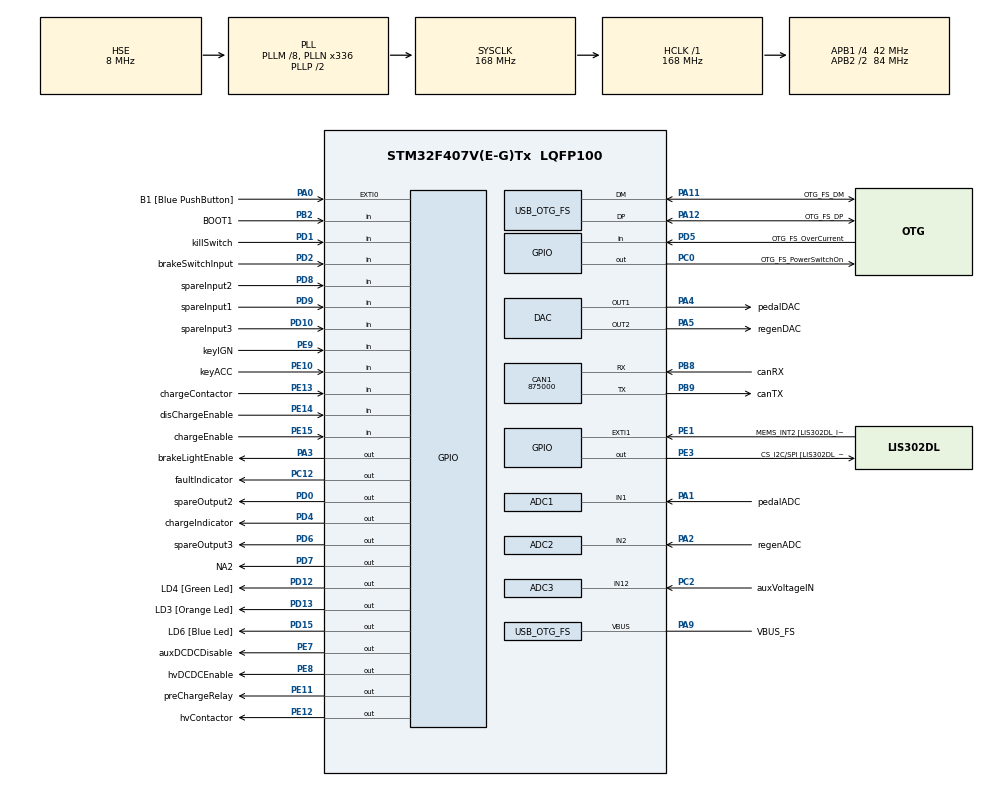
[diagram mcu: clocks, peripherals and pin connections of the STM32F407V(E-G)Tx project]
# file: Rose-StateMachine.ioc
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ADC1.Channel-1\#ChannelRegularConversion=ADC_CHANNEL_1
ADC1.ContinuousConvMode=ENABLE
ADC1.InjNumberOfConversion=0
ADC1.NbrOfConversion=1
ADC1.NbrOfConversionFlag=1
ADC1.Rank-1\#ChannelRegularConversion=1
ADC1.Resolution=ADC_RESOLUTION_12B
ADC1.SamplingTime-1\#ChannelRegularConversion=ADC_SAMPLETIME_15CYCLES
ADC1.ScanConvMode=DISABLE
ADC1.master=1
ADC2.Channel-1\#ChannelRegularConversion=ADC_CHANNEL_2
ADC2.ContinuousConvMode=ENABLE
ADC2.NbrOfConversionFlag=1
ADC2.Rank-1\#ChannelRegularConversion=1
ADC2.SamplingTime-1\#ChannelRegularConversion=ADC_SAMPLETIME_3CYCLES
ADC3.Channel-0\#ChannelRegularConversion=ADC_CHANNEL_12
ADC3.ContinuousConvMode=ENABLE
ADC3.NbrOfConversionFlag=1
ADC3.Rank-0\#ChannelRegularConversion=1
ADC3.SamplingTime-0\#ChannelRegularConversion=ADC_SAMPLETIME_3CYCLES
CAN1.CalculateBaudRate=875000
CAN1.CalculateTimeBit=1142
CAN1.CalculateTimeQuantum=380.95238095238096
Mcu.Family=STM32F4
Mcu.Name=STM32F407V(E-G)Tx
Mcu.Package=LQFP100
NVIC.OTG_FS_IRQn=true\:0\:0\:false\:false\:true\:true\:true\:true
NVIC.PriorityGroup=NVIC_PRIORITYGROUP_0
PA0-WKUP.GPIO_Label=B1 [Blue PushButton]
PA0-WKUP.GPIO_ModeDefaultEXTI=GPIO_MODE_EVT_RISING
PA0-WKUP.GPIO_PuPd=GPIO_NOPULL
PA0-WKUP.Signal=GPXTI0
PA1.GPIO_Label=pedalADC
PA1.Signal=ADCx_IN1
PA10.GPIO_Label=OTG_FS_ID
PA10.GPIO_Mode=GPIO_MODE_AF_PP
PA10.GPIO_PuPd=GPIO_NOPULL
PA10.GPIO_Speed=GPIO_SPEED_FREQ_LOW
PA10.Signal=USB_OTG_FS_ID
PA11.GPIO_Label=OTG_FS_DM
PA11.GPIO_Mode=GPIO_MODE_AF_PP
PA11.GPIO_PuPd=GPIO_NOPULL
PA11.GPIO_Speed=GPIO_SPEED_FREQ_LOW
PA11.Mode=Device_Only
PA11.Signal=USB_OTG_FS_DM
PA12.GPIO_Label=OTG_FS_DP
PA12.GPIO_Mode=GPIO_MODE_AF_PP
PA12.GPIO_PuPd=GPIO_NOPULL
PA12.GPIO_Speed=GPIO_SPEED_FREQ_LOW
PA12.Mode=Device_Only
PA12.Signal=USB_OTG_FS_DP
PA13.GPIO_Label=SWDIO
PA13.Mode=Serial_Wire
PA13.Signal=SYS_JTMS-SWDIO
PA14.GPIO_Label=SWCLK
PA14.Mode=Serial_Wire
PA14.Signal=SYS_JTCK-SWCLK
PA2.GPIO_Label=regenADC
PA2.Signal=ADCx_IN2
PA3.GPIO_Label=brakeLightEnable
PA3.Signal=GPIO_Output
PA4.GPIO_Label=pedalDAC
PA4.Signal=COMP_DAC1_group
PA5.GPIO_Label=regenDAC
PA5.Signal=COMP_DAC2_group
PA6.GPIO_Label=SPI1_MISO [LIS302DL_SDO]
PA6.GPIO_Mode=GPIO_MODE_AF_PP
PA6.GPIO_PuPd=GPIO_NOPULL
PA6.GPIO_Speed=GPIO_SPEED_FREQ_LOW
PA6.Signal=SPI1_MISO
PA9.GPIO_Label=VBUS_FS
PA9.GPIO_Mode=GPIO_MODE_INPUT
PA9.GPIO_PuPd=GPIO_NOPULL
PA9.Mode=Activate_VBUS
PA9.Signal=USB_OTG_FS_VBUS
PB10.GPIO_Label=CLK_IN [MP45DT02_CLK]
PB10.GPIO_Mode=GPIO_MODE_AF_PP
PB10.GPIO_PuPd=GPIO_NOPULL
PB10.GPIO_Speed=GPIO_SPEED_FREQ_LOW
PB10.Signal=I2S2_CK
PB2.GPIO_Label=BOOT1
PB2.GPIO_Mode=GPIO_MODE_INPUT
PB2.GPIO_PuPd=GPIO_NOPULL
PB2.Signal=GPIO_Input
PB3.GPIO_Label=SWO
PB3.Signal=SYS_JTDO-SWO
PB8.GPIO_Label=canRX
PB8.Mode=CAN_Activate
PB8.Signal=CAN1_RX
PB9.GPIO_Label=canTX
PB9.Mode=CAN_Activate
PB9.Signal=CAN1_TX
PC0.GPIO_Label=OTG_FS_PowerSwitchOn
PC0.GPIO_PuPd=GPIO_NOPULL
PC0.GPIO_Speed=GPIO_SPEED_FREQ_LOW
PC0.PinState=GPIO_PIN_SET
PC0.Signal=GPIO_Output
PC10.GPIO_Label=I2S3_SCK [CS43L22_SCLK]
PC10.GPIO_Mode=GPIO_MODE_AF_PP
PC10.GPIO_PuPd=GPIO_NOPULL
PC10.GPIO_Speed=GPIO_SPEED_FREQ_LOW
PC10.Signal=I2S3_CK
PC12.GPIO_Label=faultIndicator
PC12.Signal=GPIO_Output
PC14-OSC32_IN.GPIO_Label=PC14-OSC32_IN
PC14-OSC32_IN.Mode=LSE-External-Oscillator
PC14-OSC32_IN.Signal=RCC_OSC32_IN
PC15-OSC32_OUT.GPIO_Label=PC15-OSC32_OUT
PC15-OSC32_OUT.Mode=LSE-External-Oscillator
PC15-OSC32_OUT.Signal=RCC_OSC32_OUT
PC2.GPIO_Label=auxVoltageIN
PC2.Signal=ADCx_IN12
PC3.GPIO_Label=PDM_OUT [MP45DT02_DOUT]
PC3.GPIO_Mode=GPIO_MODE_AF_PP
PC3.GPIO_PuPd=GPIO_NOPULL
PC3.GPIO_Speed=GPIO_SPEED_FREQ_LOW
PC3.Signal=I2S2_SD
PD0.GPIO_Label=spareOutput2
PD0.Signal=GPIO_Output
PD1.GPIO_Label=killSwitch
PD1.Signal=GPIO_Input
PD10.GPIO_Label=spareInput3
PD10.Signal=GPIO_Input
PD12.GPIO_Label=LD4 [Green Led]
PD12.GPIO_PuPd=GPIO_NOPULL
PD12.GPIO_Speed=GPIO_SPEED_FREQ_LOW
PD12.Signal=GPIO_Output
PD13.GPIO_Label=LD3 [Orange Led]
PD13.GPIO_PuPd=GPIO_NOPULL
PD13.GPIO_Speed=GPIO_SPEED_FREQ_LOW
PD13.Signal=GPIO_Output
PD15.GPIO_Label=LD6 [Blue Led]
PD15.GPIO_PuPd=GPIO_NOPULL
PD15.GPIO_Speed=GPIO_SPEED_FREQ_LOW
PD15.Signal=GPIO_Output
PD2.GPIO_Label=brakeSwitchInput
PD2.Signal=GPIO_Input
PD4.GPIO_Label=chargeIndicator
PD4.Signal=GPIO_Output
PD5.GPIO_Label=OTG_FS_OverCurrent
PD5.GPIO_Mode=GPIO_MODE_INPUT
PD5.GPIO_PuPd=GPIO_NOPULL
PD5.Signal=GPIO_Input
PD6.GPIO_Label=spareOutput3
PD6.GPIO_PuPd=GPIO_PULLDOWN
PD6.GPIO_Speed=GPIO_SPEED_FREQ_HIGH
PD6.PinState=GPIO_PIN_SET
PD6.Signal=GPIO_Output
PD7.GPIO_Label=NA2
PD7.Signal=GPIO_Output
PD8.GPIO_Label=spareInput2
PD8.Signal=GPIO_Input
PD9.GPIO_Label=spareInput1
PD9.Signal=GPIO_Input
PE1.GPIO_Label=MEMS_INT2 [LIS302DL_INT2]
PE1.GPIO_ModeDefaultEXTI=GPIO_MODE_EVT_RISING
PE1.GPIO_PuPd=GPIO_NOPULL
PE1.Signal=GPXTI1
PE10.GPIO_Label=keyACC
PE10.Signal=GPIO_Input
PE11.GPIO_Label=preChargeRelay
PE11.Signal=GPIO_Output
PE12.GPIO_Label=hvContactor
PE12.Signal=GPIO_Output
PE13.GPIO_Label=chargeContactor
PE13.Signal=GPIO_Input
PE14.GPIO_Label=disChargeEnable
PE14.Signal=GPIO_Input
PE15.GPIO_Label=chargeEnable
PE15.Signal=GPIO_Input
PE3.GPIO_Label=CS_I2C/SPI [LIS302DL_CS_I2C/SPI]
PE3.GPIO_PuPd=GPIO_NOPULL
PE3.GPIO_Speed=GPIO_SPEED_FREQ_LOW
PE3.Signal=GPIO_Output
PE7.GPIO_Label=auxDCDCDisable
PE7.Signal=GPIO_Output
PE8.GPIO_Label=hvDCDCEnable
PE8.Signal=GPIO_Output
PE9.GPIO_Label=keyIGN
PE9.Signal=GPIO_Input
PH0-OSC_IN.GPIO_Label=PH0-OSC_IN
PH0-OSC_IN.Mode=HSE-External-Oscillator
PH0-OSC_IN.Signal=RCC_OSC_IN
PH1-OSC_OUT.GPIO_Label=PH1-OSC_OUT
PH1-OSC_OUT.Mode=HSE-External-Oscillator
PH1-OSC_OUT.Signal=RCC_OSC_OUT
ProjectManager.HeapSize=0x200
ProjectManager.StackSize=0x400
ProjectManager.TargetToolchain=STM32CubeIDE
RCC.48MHZClocksFreq_Value=48000000
RCC.AHBFreq_Value=168000000
RCC.APB1CLKDivider=RCC_HCLK_DIV4
RCC.APB1Freq_Value=42000000
RCC.APB1TimFreq_Value=84000000
RCC.APB2CLKDivider=RCC_HCLK_DIV2
RCC.APB2Freq_Value=84000000
RCC.APB2TimFreq_Value=168000000
RCC.CortexFreq_Value=168000000
RCC.HCLKFreq_Value=168000000
RCC.HSE_VALUE=8000000
RCC.HSI_VALUE=16000000
RCC.PLLM=8
RCC.PLLN=336
RCC.PLLQ=7
RCC.SYSCLKFreq_VALUE=168000000
RCC.SYSCLKSource=RCC_SYSCLKSOURCE_PLLCLK
RCC.VCOOutputFreq_Value=336000000
SH.ADCx_IN1.0=ADC1_IN1,IN1
SH.ADCx_IN12.0=ADC3_IN12,IN12
SH.ADCx_IN2.0=ADC2_IN2,IN2
SH.COMP_DAC1_group.0=DAC_OUT1,DAC_OUT1
SH.COMP_DAC2_group.0=DAC_OUT2,DAC_OUT2
USB_DEVICE.CLASS_NAME_FS=CDC
USB_DEVICE.VirtualMode-CDC_FS=Cdc
USB_DEVICE.VirtualModeFS=Cdc_FS
USB_OTG_FS.VirtualMode=Device_Only
VP_USB_DEVICE_VS_USB_DEVICE_CDC_FS.Mode=CDC_FS
board=STM32F407G-DISC1

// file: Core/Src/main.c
/* USER CODE BEGIN Header */
/**
  ******************************************************************************
  * @file           : main.c
  * @brief          : Main program body
  ******************************************************************************
  * @attention
  *
  * Copyright (c) 2024 STMicroelectronics.
  * All rights reserved.
  *
  * This software is licensed under terms that can be found in the LICENSE file
  * in the root directory of this software component.
  * If no LICENSE file comes with this software, it is provided AS-IS.
  *
  ******************************************************************************
  */
/* USER CODE END Header */
#include "main.h"
#include "usb_device.h"

/* USER CODE BEGIN Includes */
#include <unistd.h>
#include "stm32f4xx_hal.h"

/* USER CODE END Includes */

/* USER CODE BEGIN PTD */

//Enum For the State Machine
typedef enum {
	OFF,
	ACC,
	IGN,
	DCDC,
	ON,
	CHARGE,
	FAULT,
	FAULT_TEMP
} State_t;

/* USER CODE END PTD */

ADC_HandleTypeDef hadc1;
ADC_HandleTypeDef hadc2;
ADC_HandleTypeDef hadc3;

CAN_HandleTypeDef hcan1;

DAC_HandleTypeDef hdac;

/* USER CODE BEGIN PV */

// const for the Throttle Pedal
const int THROTTLE_MIN_ADC = 630;
const int THROTTLE_MAX_ADC = 3900;
const int THROTTLE_MIN_DAC = 0;
const int THROTTLE_MAX_DAC = 4095;

const int REGEN_MIN_ADC = 0;
const int REGEN_MAX_ADC = 4095;
const int REGEN_MIN_DAC = 0;
const int REGEN_MAX_DAC = 4095;
// Const for AUX undervoltage protection
const int UNDERVOLTAGE = 3210;			// 21 Volts, experimental, 12 bit @ 3.3VCC,

const int BRAKE_POINT = 1000; // Sets the point where Regen activates Brake Lights.

// sets current state
static State_t currentState = OFF;
static State_t lastState = OFF;
uint32_t enterStateTime = 0;
uint32_t currentTime = 0;
uint32_t extraTime = 0;
char faultString[255] = "";

/* All faultCodes are two digits, first digit is lastState,
 second is code, see table below

faultCode = 00: 	No fault

fautlCode = 21: i_keyACC == 0 in IGN
faultCode = 22: i_disChargeEnable == 0 in IGN
faultCode = 23: i_ChargeEnable == 0 in IGN
faultCode = 24: i_killSwitch == 1 in IGN
faultCode = 29: Undefined fault in IGN

fautlCode = 31: i_keyACC == 0 in DCDC
faultCode = 32: i_disChargeEnable == 0 in DCDC
faultCode = 33: i_ChargeEnable == 0 in DCDC
faultCode = 34: i_killSwitch == 1 in DCDC
faultCode = 39: Undefined fault in DCDC

fautlCode = 41: i_keyACC == 0 in ON
faultCode = 42: i_disChargeEnable == 0 in ON -> Charger throw this error
faultCode = 43: i_ChargeEnable == 0 in ON
faultCode = 44: i_killSwitch == 1 in ON
faultCode = 49: Undefined fault in ON

fautlCode = 51: i_keyACC == 0 in CHARGE
faultCode = 52: i_disChargeEnable == 1 in CHARGE
faultCode = 53: i_ChargeEnable == 0 in CHARGE
faultCode = 54: i_chargeContactor == 0 in CHARGE
faultCode = 55: i_killSwitch == 1 in CHARGE
faultCode = 59: Undefined fault in CHARGE

*/
uint8_t faultCode = 00;
uint8_t debugMode = 1;

GPIO_PinState i_keyIGN;
GPIO_PinState i_keyACC;
GPIO_PinState i_killSwitch;
GPIO_PinState i_chargeContactor;
GPIO_PinState i_chargeEnable;
GPIO_PinState i_disChargeEnable;
GPIO_PinState i_brakeSwitchInput;

GPIO_PinState o_hvDCDCEnable;
GPIO_PinState o_auxDCDCDisable;
GPIO_PinState o_chargeIndicator;
GPIO_PinState o_faultIndicator;
GPIO_PinState o_hvContactor;
GPIO_PinState o_preChargeRelay;
GPIO_PinState o_brakeIndEn;

uint16_t o_pedalDAC=0;
uint16_t i_pedalADC=0;
uint16_t ai_auxVoltage = 0;

uint16_t o_regenDAC=0;
uint16_t i_regenADC=0;

//Can Bus Varibles
CAN_FilterTypeDef Filter;

CAN_TxHeaderTypeDef TxHeader;
CAN_RxHeaderTypeDef RxHeader;
uint8_t TxData[8];
uint8_t RxData[8];
uint32_t TxMailbox;

/* USER CODE END PV */

void SystemClock_Config(void);
static void MX_GPIO_Init(void);
static void MX_ADC1_Init(void);
static void MX_DAC_Init(void);
static void MX_ADC2_Init(void);
static void MX_CAN1_Init(void);
static void MX_ADC3_Init(void);
/* USER CODE BEGIN PFP */
void off_state(void);
void acc_state(void);
void ign_state(void);
void dcdc_state(void);
void on_state(void);
void charge_state(void);
void fault_state(void);
void faultTemp_state(void);
void stateMachine_init(void);
void debugMonitor(void);
void updatePedal(void);
void updateAuxADC(void);
void updateRegen(void);
void faultBlinker(void);
void brakeActives(uint16_t analogIn);

/* USER CODE END PFP */

int main(void)
{

  /* MCU Configuration--------------------------------------------------------*/

  /* Reset of all peripherals, Initializes the Flash interface and the Systick. */
  HAL_Init();

  /* Configure the system clock */
  SystemClock_Config();

  /* Initialize all configured peripherals */
  MX_GPIO_Init();
  MX_ADC1_Init();
  MX_DAC_Init();
  MX_USB_DEVICE_Init();
  MX_ADC2_Init();
  MX_CAN1_Init();
  MX_ADC3_Init();

  /* Infinite loop */
  while (1)
  {

    /* USER CODE BEGIN 3 */
	  i_keyIGN 				= HAL_GPIO_ReadPin(keyIGNPort, keyIGN);
	  i_keyACC 				= HAL_GPIO_ReadPin(keyACCPort, keyACC);
	  i_killSwitch 			= !HAL_GPIO_ReadPin(killSwitchPort, killSwitch);
	  i_chargeContactor 	= HAL_GPIO_ReadPin(chargeContactorPort, chargeContactor);
	  i_chargeEnable 		= !HAL_GPIO_ReadPin(chargeEnablePort, chargeEnable);
	  i_disChargeEnable 	= !HAL_GPIO_ReadPin(disChargeEnablePort, disChargeEnable);
	  i_brakeSwitchInput 	= HAL_GPIO_ReadPin(brakeSwitchInputPort, brakeSwitchInput);

	switch(currentState) {
			case OFF:
				off_state();
				break;
			case ACC:
				acc_state();
				break;
			case IGN:
				ign_state();
				break;
			case DCDC:
				dcdc_state();
				break;
			case ON:
				on_state();
				break;
			case CHARGE:
				charge_state();
				break;
			case FAULT:
				fault_state();
				break;
			case FAULT_TEMP:
				faultTemp_state();
				break;
		}

	if (1)
	{
		debugMonitor();
	}

  }
}

//add brake lights

//Initial setting of bits
void off_state(void){		// State 0
	currentTime = HAL_GetTick();
	lastState = OFF;
	HAL_GPIO_WritePin(preChargeRelayPort,preChargeRelay,GPIO_PIN_RESET);
	o_preChargeRelay = GPIO_PIN_RESET;
	HAL_GPIO_WritePin(hvContactorPort,hvContactor,GPIO_PIN_RESET);
	o_hvContactor = GPIO_PIN_RESET;
	HAL_GPIO_WritePin(auxDCDCDisablePort,auxDCDCDisable,GPIO_PIN_RESET);
	o_auxDCDCDisable = GPIO_PIN_RESET;
	HAL_GPIO_WritePin(hvDCDCEnablePort,hvDCDCEnable,GPIO_PIN_RESET);
	o_hvDCDCEnable = GPIO_PIN_RESET;
	HAL_GPIO_WritePin(chargeIndicatorPort,chargeIndicator,RESET);
	o_chargeIndicator = GPIO_PIN_RESET;
	HAL_GPIO_WritePin(faultIndicatorPort,faultIndicator,RESET);
	o_faultIndicator = GPIO_PIN_RESET;

	updateAuxADC();
	//Changes States
	if ((i_keyACC != 0 ) && (i_disChargeEnable != 0) && (i_killSwitch != 1) && (ai_auxVoltage > UNDERVOLTAGE)){
		currentState = ACC;
	}
}

void acc_state(void){		// State 1
	if( lastState != ACC)
	{
		enterStateTime = HAL_GetTick();
		HAL_GPIO_WritePin(preChargeRelayPort,preChargeRelay,GPIO_PIN_RESET);
		o_preChargeRelay = GPIO_PIN_RESET;
		HAL_GPIO_WritePin(hvContactorPort,hvContactor,GPIO_PIN_RESET);
		o_hvContactor = GPIO_PIN_RESET;
		HAL_GPIO_WritePin(auxDCDCDisablePort,auxDCDCDisable,GPIO_PIN_RESET);
		o_auxDCDCDisable = GPIO_PIN_RESET;
		HAL_GPIO_WritePin(hvDCDCEnablePort,hvDCDCEnable,GPIO_PIN_RESET);
		o_hvDCDCEnable = GPIO_PIN_RESET;
	}
	lastState = ACC;

	currentTime = HAL_GetTick();
	// goes back to off if any one bit is wrong
	if((i_keyACC != 1) || (i_disChargeEnable != 1) || (i_killSwitch != 0))			//(i_chargeEnable != 1) ||
		currentState = OFF; 			// No fault occurs

	//Changes States
	if ((i_keyIGN != 0) && (i_disChargeEnable != 0) && (i_keyACC != 0) && (i_chargeEnable != 0))
	{
		currentState = IGN;
	}
}

void ign_state(void){		// State 2

	if( lastState == ACC )
	{
		enterStateTime = HAL_GetTick();

		HAL_GPIO_WritePin(preChargeRelayPort, preChargeRelay, GPIO_PIN_SET);
		o_preChargeRelay = GPIO_PIN_SET;
		HAL_GPIO_WritePin(spareOutput3Port, spareOutput3, GPIO_PIN_SET); //why does this exist? test point?
	}
	lastState = IGN;
	currentTime = HAL_GetTick();

	// Key was not held long enough
	if (i_keyIGN != 1)
	{
		currentState = ACC;
	}
	// Check for any missing inputs --> Fault
	else if ((i_keyACC != 1) || (i_disChargeEnable != 1) || (i_chargeEnable != 1) || (i_killSwitch != 0))
	{
		currentState = FAULT;
		if (i_keyACC != 1)
		{
			faultCode = 21;
		}
		else if (i_disChargeEnable != 1)
		{
			faultCode = 22;
		}
		else if (i_chargeEnable != 1)
		{
			faultCode = 23;
		}
		else if (i_killSwitch != 0)
		{
			faultCode = 24;
		}
		else
		{
			faultCode = 29;
		}

	}
	// If 4 sec are gone, activate HVContactor and switch in ON State
	else if(currentTime - enterStateTime >= 4000)
	{
		HAL_GPIO_WritePin(hvContactorPort, hvContactor, GPIO_PIN_SET);
		o_hvContactor = GPIO_PIN_SET;

		currentState = DCDC;
	}
}

//Short state for the transition between the two DCDC's
void dcdc_state(void){		// State 3

	if ( lastState == IGN )
	{
		enterStateTime = HAL_GetTick();

		HAL_GPIO_WritePin(hvDCDCEnablePort,hvDCDCEnable, GPIO_PIN_SET);
		o_hvDCDCEnable = GPIO_PIN_SET;
		HAL_GPIO_WritePin(preChargeRelayPort,preChargeRelay, GPIO_PIN_RESET);
		o_preChargeRelay = GPIO_PIN_RESET;
	}

	lastState = DCDC;

	currentTime = HAL_GetTick();
	// Check if any signal is missing --> FAULT State
	if ((i_keyACC != 1) || (i_disChargeEnable != 1) || (i_chargeEnable != 1) || (i_killSwitch != 0))
	{
		currentState = FAULT;
		if (i_keyACC != 1)
		{
			faultCode = 31;
		}
		else if (i_disChargeEnable != 1)
		{
			faultCode = 32;
		}
		else if (i_chargeEnable != 1)
		{
			faultCode = 33;
		}
		else if (i_killSwitch != 0)
		{
			faultCode = 34;
		}
		else
		{
			faultCode = 39;
		}
	}
	// Switch off the AUX-DCDC after 1000 ms(1sec)
	else if (currentTime - enterStateTime >= 1000)
	{
		HAL_GPIO_WritePin(auxDCDCDisablePort,auxDCDCDisable, GPIO_PIN_SET);
		o_auxDCDCDisable = GPIO_PIN_SET;
		currentState = ON;
	}
}

void on_state(void){		// State 4 = DRIVING

	if ( lastState == DCDC )
	{
		enterStateTime = HAL_GetTick();
	}
	lastState = ON;

	currentTime = HAL_GetTick();

	// SETS THE OUTPUTS!!!
	// Throttle pedal output function

	updatePedal();

	updateRegen();
	brakeActives(i_regenADC);

	// Go to FAULT_TEMP state because we might want to charge if disChargeEnable goes 0
	if (i_disChargeEnable != 1)
	{
		currentState = FAULT_TEMP;
	}

	// Check if any signal is missing --> FAULT State
	if ((i_keyACC != 1) || (i_chargeEnable != 1) || (i_chargeContactor != 0) || (i_killSwitch != 0))
	{
		currentState = FAULT;
		if (i_keyACC != 1)
		{
			faultCode = 41;
		}
		else if (i_chargeEnable != 1)
		{
			faultCode = 43;
		}
		else if (i_killSwitch != 0)
		{
			faultCode = 44;
		}
		else if (i_chargeContactor != 0)
		{
			faultCode = 45;
		}
		else
		{
			faultCode = 49;
		}
	}
}

void faultTemp_state(void){			// State 7
	if (lastState == ON){
		enterStateTime = HAL_GetTick();
		lastState = FAULT_TEMP;

		// Set fault indicator GPIO pin
		HAL_GPIO_WritePin(faultIndicatorPort, faultIndicator, GPIO_PIN_SET);
		o_faultIndicator = GPIO_PIN_SET;

        //Reset auxDCDCDisable GPIO pin
        HAL_GPIO_WritePin(auxDCDCDisablePort,auxDCDCDisable, GPIO_PIN_RESET);
        o_auxDCDCDisable = GPIO_PIN_RESET;

	}
	currentTime = HAL_GetTick();

    if (currentTime - enterStateTime >= 500) {
        // Reset hvDCDCEnable GPIO pin after 500ms
        HAL_GPIO_WritePin(hvDCDCEnablePort, hvDCDCEnable, GPIO_PIN_RESET);
        o_hvDCDCEnable = GPIO_PIN_RESET;

        // Open HV Contactor
        HAL_GPIO_WritePin(hvContactorPort, hvContactor, GPIO_PIN_RESET);
        o_hvContactor = GPIO_PIN_RESET;
    }

    // FAULT INDICATOR
    faultBlinker();

    // Switch to charging state because chargeContactor = 1
    if (i_chargeContactor == 1){
    	currentState = CHARGE;
    }
    // Different fault occurs during FAULT_TEMP
    else if((i_keyACC != 1) || (i_chargeEnable != 1) || (i_killSwitch != 0))
	{
		currentState = FAULT;
		if (i_keyACC != 1)
		{
			faultCode = 71;
		}
		else if (i_chargeEnable != 1)
		{
			faultCode = 73;
		}
		else if (i_killSwitch != 0)
		{
			faultCode = 75;
		}
	}
    // After 10 sec, disconnect contactor and switch hvDCDC off (wait for charger to setup own 12V)
    else if (currentTime - enterStateTime >= 30000)
	{
		currentState = FAULT;
		faultCode = 72;
	}

}

void charge_state(void){	// State 5

	// Start charging routine by enabling AUX DCDC
	if (lastState == FAULT_TEMP)
	{
		enterStateTime = HAL_GetTick();
		lastState = CHARGE;

		HAL_GPIO_WritePin(hvDCDCEnable_GPIO_Port, hvDCDCEnable_Pin, RESET);
		o_hvDCDCEnable = RESET;

		HAL_GPIO_WritePin(hvContactor_GPIO_Port, hvContactor_Pin, RESET);
		o_hvContactor = RESET;

		HAL_GPIO_WritePin(chargeIndicatorPort, chargeIndicator, SET);
		o_chargeIndicator = SET;

        // Set auxDCDCDisable GPIO pin -> AUX-DCDC off
        HAL_GPIO_WritePin(auxDCDCDisablePort,auxDCDCDisable, SET);
        o_auxDCDCDisable = SET;

		// Reset fault indicator GPIO pin
		HAL_GPIO_WritePin(faultIndicatorPort, faultIndicator, RESET);
		o_faultIndicator = RESET;

	}

	currentTime = HAL_GetTick();

	if( (i_chargeEnable == 0 ) || (i_killSwitch != 0))
	{
		currentState = FAULT;
		if (i_keyACC != 1)
		{
			faultCode = 51;
		}
		else if (i_disChargeEnable != 0)
		{
			faultCode = 52;
		}
		else if (i_chargeEnable != 1)
		{
			faultCode = 53;
		}
		else if (i_chargeContactor != 1)
		{
			faultCode = 54;
		}
		else if (i_killSwitch != 0)
		{
			faultCode = 55;
		}
		else
		{
			faultCode = 59;
		}
	}

}

void fault_state(void) { // State 6

    if (lastState != FAULT) {
        // Set fault indicator GPIO pin
        HAL_GPIO_WritePin(faultIndicatorPort, faultIndicator, GPIO_PIN_SET);
        o_faultIndicator = GPIO_PIN_SET;

        // Reset charge indicator GPIO pin
        HAL_GPIO_WritePin(chargeIndicatorPort, chargeIndicator, GPIO_PIN_RESET);
        o_chargeIndicator = GPIO_PIN_RESET;

        // Reset pre-charge relay GPIO pin
        HAL_GPIO_WritePin(preChargeRelayPort, preChargeRelay, GPIO_PIN_RESET);
        o_preChargeRelay = GPIO_PIN_RESET;

        //Reset auxDCDCDisable GPIO pin -> Aux-DCDC turns on
        HAL_GPIO_WritePin(auxDCDCDisablePort,auxDCDCDisable, GPIO_PIN_RESET);
        o_auxDCDCDisable = GPIO_PIN_RESET;

        // Update last state to FAULT
        lastState = FAULT;

        // Record the time when entering the FAULT state
        enterStateTime = HAL_GetTick();

    }

    currentTime = HAL_GetTick();

    if (currentTime - enterStateTime >= 500) {
        // Reset hvDCDCEnable GPIO pin after 500ms
        HAL_GPIO_WritePin(hvDCDCEnablePort, hvDCDCEnable, GPIO_PIN_RESET);
        o_hvDCDCEnable = GPIO_PIN_RESET;

        // Open HV Contactor
        HAL_GPIO_WritePin(hvContactorPort, hvContactor, GPIO_PIN_RESET);
        o_hvContactor = GPIO_PIN_RESET;
    }

    faultBlinker();
    // FAULT INDICATOR
}

void debugMonitor(void)
{
	char  analogBuffer[200], outBuffer[240];
	//stateBuffer[240] inBuffer[300], outBuffer[240], outBufferOld[240,;
	//old unused  String arrays ^^^

	sprintf(analogBuffer, "\rState:%d PedalADC:%d PedalDAC:%d RegenADC:%d RegenDAC:%d\n",
			currentState,i_pedalADC, o_pedalDAC, i_regenADC, o_regenDAC);

	sprintf(outBuffer, "\rS: %d hvDCe=%d AuxDCd=%d FltIn=%d PChg=%d KeyI=%d KeyA=%d DisCe=%d KSw=%d CHGe=%d CHGc=%d ADC=%d Code=%d\n",
			currentState, o_hvDCDCEnable, o_auxDCDCDisable,
			o_faultIndicator, o_preChargeRelay, i_keyIGN,i_keyACC, i_disChargeEnable,
			i_killSwitch, i_chargeEnable, i_chargeContactor, i_pedalADC, faultCode);

	// ChargeSafety = ChargeContactor
	// DischargeEnable
	// ChargeEnable

//	sprintf(outBuffer,"\rS=%d ChargeCONT=%d ChargeEna=%d HV-DCDC-En=%d D-Aux-DCDC=%d ChargeInd=%d FaultInd=%d HV+_Contactor=%d Code=%d\n",
//						currentState, i_chargeContactor,i_chargeEnable, o_hvDCDCEnable, o_auxDCDCDisable,o_chargeIndicator, o_faultIndicator, o_hvContactor, faultCode);

//	sprintf(outBuffer,"\rS: %d Discharge=%d KillSwitch= %d\n",
//			currentState, i_disChargeEnable, i_killSwitch);

	//CDC_Transmit_FS((uint8_t*)outBuffer, strlen((char*)outBuffer));
	CDC_Transmit_FS((uint8_t*)analogBuffer, strlen((char*)analogBuffer));

}

void updatePedal(void){

    HAL_ADC_Start(&hadc1);
    HAL_DAC_Start(&hdac, DAC_CHANNEL_1);

    // Get input from PA0
	i_pedalADC = HAL_ADC_GetValue(&hadc1);

	int Throttle_DAC_temp = ((i_pedalADC - THROTTLE_MIN_ADC) * (THROTTLE_MAX_DAC - THROTTLE_MIN_DAC))
			/ (THROTTLE_MAX_ADC - THROTTLE_MIN_ADC) + THROTTLE_MIN_DAC;

	// Clamp DAC value to max range
	if (Throttle_DAC_temp > THROTTLE_MAX_DAC) {
		Throttle_DAC_temp = THROTTLE_MAX_DAC;
	} else if (Throttle_DAC_temp < THROTTLE_MIN_DAC) {
		Throttle_DAC_temp = THROTTLE_MIN_DAC;
	}

	//invert value
	o_pedalDAC = THROTTLE_MAX_DAC - Throttle_DAC_temp;

	// Outputting DAC value to PA4
	HAL_DAC_SetValue(&hdac, DAC_CHANNEL_1, DAC_ALIGN_12B_R, o_pedalDAC);
	HAL_Delay(1);
}

void updateRegen(void) {

            HAL_ADC_Start(&hadc2);
            HAL_DAC_Start(&hdac, DAC_CHANNEL_2);

			i_regenADC = HAL_ADC_GetValue(&hadc2);

			int Regen_DAC_Temp = ((i_regenADC - REGEN_MIN_ADC) * (REGEN_MAX_DAC - REGEN_MIN_DAC))
					/ (REGEN_MAX_DAC - REGEN_MIN_ADC) + REGEN_MIN_DAC;

			// Clamp DAC value to max range
			if (Regen_DAC_Temp > REGEN_MAX_DAC) {
				Regen_DAC_Temp = REGEN_MAX_DAC;
			} else if (Regen_DAC_Temp < REGEN_MIN_DAC) {
				Regen_DAC_Temp = REGEN_MIN_DAC;
			}

			o_regenDAC = REGEN_MAX_DAC - Regen_DAC_Temp;

			HAL_DAC_SetValue(&hdac, DAC_CHANNEL_2, DAC_ALIGN_12B_R, o_regenDAC);
			HAL_Delay(1);
}

void updateAuxADC(void){
	HAL_ADC_Start(&hadc3);
	ai_auxVoltage = HAL_ADC_GetValue(&hadc3);			// Measure aux voltage and compare to threshold value
	HAL_Delay(1);
}

void faultBlinker(void) {
    // Blinks the Fault Indicator at 1.5 Hz (1.5p second on/off)
    if (currentTime - extraTime >= 750) {

        // Toggle fault indicator GPIO pin
        if (o_faultIndicator == 0) { // Checks to see if Fault Light is OFF
            // Turns on the Fault Light
            HAL_GPIO_WritePin(faultIndicatorPort, faultIndicator, SET);
            o_faultIndicator = SET;
        } else {
            // Turns off the Fault Light
            HAL_GPIO_WritePin(faultIndicatorPort, faultIndicator, GPIO_PIN_RESET);
            o_faultIndicator = GPIO_PIN_RESET;
        }

        extraTime = currentTime;
    }
}

void brakeActives(uint16_t analogIn) {
// REGEN ACTIVATE
	if (analogIn >= BRAKE_POINT) {
		HAL_GPIO_WritePin(brakeLightEnable_GPIO_Port, brakeLightEnable_Pin, SET);
		o_brakeIndEn = SET;
	} else{
		HAL_GPIO_WritePin(brakeLightEnable_GPIO_Port, brakeLightEnable_Pin, RESET);
		o_brakeIndEn = RESET;
	}
}

  /* USER CODE END 3 */

void SystemClock_Config(void)
{
  RCC_OscInitTypeDef RCC_OscInitStruct = {0};
  RCC_ClkInitTypeDef RCC_ClkInitStruct = {0};

  /** Configure the main internal regulator output voltage
  */
  __HAL_RCC_PWR_CLK_ENABLE();
  __HAL_PWR_VOLTAGESCALING_CONFIG(PWR_REGULATOR_VOLTAGE_SCALE1);

  /** Initializes the RCC Oscillators according to the specified parameters
  * in the RCC_OscInitTypeDef structure.
  */
  RCC_OscInitStruct.OscillatorType = RCC_OSCILLATORTYPE_HSE;
  RCC_OscInitStruct.HSEState = RCC_HSE_ON;
  RCC_OscInitStruct.PLL.PLLState = RCC_PLL_ON;
  RCC_OscInitStruct.PLL.PLLSource = RCC_PLLSOURCE_HSE;
  RCC_OscInitStruct.PLL.PLLM = 8;
  RCC_OscInitStruct.PLL.PLLN = 336;
  RCC_OscInitStruct.PLL.PLLP = RCC_PLLP_DIV2;
  RCC_OscInitStruct.PLL.PLLQ = 7;
  if (HAL_RCC_OscConfig(&RCC_OscInitStruct) != HAL_OK)
  {
    Error_Handler();
  }

  /** Initializes the CPU, AHB and APB buses clocks
  */
  RCC_ClkInitStruct.ClockType = RCC_CLOCKTYPE_HCLK|RCC_CLOCKTYPE_SYSCLK
                              |RCC_CLOCKTYPE_PCLK1|RCC_CLOCKTYPE_PCLK2;
  RCC_ClkInitStruct.SYSCLKSource = RCC_SYSCLKSOURCE_PLLCLK;
  RCC_ClkInitStruct.AHBCLKDivider = RCC_SYSCLK_DIV1;
  RCC_ClkInitStruct.APB1CLKDivider = RCC_HCLK_DIV4;
  RCC_ClkInitStruct.APB2CLKDivider = RCC_HCLK_DIV2;

  if (HAL_RCC_ClockConfig(&RCC_ClkInitStruct, FLASH_LATENCY_5) != HAL_OK)
  {
    Error_Handler();
  }
}

static void MX_ADC1_Init(void)
{

  ADC_ChannelConfTypeDef sConfig = {0};

  /** Configure the global features of the ADC (Clock, Resolution, Data Alignment and number of conversion)
  */
  hadc1.Instance = ADC1;
  hadc1.Init.ClockPrescaler = ADC_CLOCK_SYNC_PCLK_DIV4;
  hadc1.Init.Resolution = ADC_RESOLUTION_12B;
  hadc1.Init.ScanConvMode = DISABLE;
  hadc1.Init.ContinuousConvMode = ENABLE;
  hadc1.Init.DiscontinuousConvMode = DISABLE;
  hadc1.Init.ExternalTrigConvEdge = ADC_EXTERNALTRIGCONVEDGE_NONE;
  hadc1.Init.ExternalTrigConv = ADC_SOFTWARE_START;
  hadc1.Init.DataAlign = ADC_DATAALIGN_RIGHT;
  hadc1.Init.NbrOfConversion = 1;
  hadc1.Init.DMAContinuousRequests = DISABLE;
  hadc1.Init.EOCSelection = ADC_EOC_SINGLE_CONV;
  if (HAL_ADC_Init(&hadc1) != HAL_OK)
  {
    Error_Handler();
  }

  /** Configure for the selected ADC regular channel its corresponding rank in the sequencer and its sample time.
  */
  sConfig.Channel = ADC_CHANNEL_1;
  sConfig.Rank = 1;
  sConfig.SamplingTime = ADC_SAMPLETIME_15CYCLES;
  if (HAL_ADC_ConfigChannel(&hadc1, &sConfig) != HAL_OK)
  {
    Error_Handler();
  }

}

static void MX_ADC2_Init(void)
{

  ADC_ChannelConfTypeDef sConfig = {0};

  /** Configure the global features of the ADC (Clock, Resolution, Data Alignment and number of conversion)
  */
  hadc2.Instance = ADC2;
  hadc2.Init.ClockPrescaler = ADC_CLOCK_SYNC_PCLK_DIV4;
  hadc2.Init.Resolution = ADC_RESOLUTION_12B;
  hadc2.Init.ScanConvMode = DISABLE;
  hadc2.Init.ContinuousConvMode = ENABLE;
  hadc2.Init.DiscontinuousConvMode = DISABLE;
  hadc2.Init.ExternalTrigConvEdge = ADC_EXTERNALTRIGCONVEDGE_NONE;
  hadc2.Init.ExternalTrigConv = ADC_SOFTWARE_START;
  hadc2.Init.DataAlign = ADC_DATAALIGN_RIGHT;
  hadc2.Init.NbrOfConversion = 1;
  hadc2.Init.DMAContinuousRequests = DISABLE;
  hadc2.Init.EOCSelection = ADC_EOC_SINGLE_CONV;
  if (HAL_ADC_Init(&hadc2) != HAL_OK)
  {
    Error_Handler();
  }

  /** Configure for the selected ADC regular channel its corresponding rank in the sequencer and its sample time.
  */
  sConfig.Channel = ADC_CHANNEL_2;
  sConfig.Rank = 1;
  sConfig.SamplingTime = ADC_SAMPLETIME_3CYCLES;
  if (HAL_ADC_ConfigChannel(&hadc2, &sConfig) != HAL_OK)
  {
    Error_Handler();
  }

}

static void MX_ADC3_Init(void)
{

  ADC_ChannelConfTypeDef sConfig = {0};

  /** Configure the global features of the ADC (Clock, Resolution, Data Alignment and number of conversion)
  */
  hadc3.Instance = ADC3;
  hadc3.Init.ClockPrescaler = ADC_CLOCK_SYNC_PCLK_DIV4;
  hadc3.Init.Resolution = ADC_RESOLUTION_12B;
  hadc3.Init.ScanConvMode = DISABLE;
  hadc3.Init.ContinuousConvMode = ENABLE;
  hadc3.Init.DiscontinuousConvMode = DISABLE;
  hadc3.Init.ExternalTrigConvEdge = ADC_EXTERNALTRIGCONVEDGE_NONE;
  hadc3.Init.ExternalTrigConv = ADC_SOFTWARE_START;
  hadc3.Init.DataAlign = ADC_DATAALIGN_RIGHT;
  hadc3.Init.NbrOfConversion = 1;
  hadc3.Init.DMAContinuousRequests = DISABLE;
  hadc3.Init.EOCSelection = ADC_EOC_SINGLE_CONV;
  if (HAL_ADC_Init(&hadc3) != HAL_OK)
  {
    Error_Handler();
  }

  /** Configure for the selected ADC regular channel its corresponding rank in the sequencer and its sample time.
  */
  sConfig.Channel = ADC_CHANNEL_12;
  sConfig.Rank = 1;
  sConfig.SamplingTime = ADC_SAMPLETIME_3CYCLES;
  if (HAL_ADC_ConfigChannel(&hadc3, &sConfig) != HAL_OK)
  {
    Error_Handler();
  }

}

static void MX_CAN1_Init(void)
{

  hcan1.Instance = CAN1;
  hcan1.Init.Prescaler = 16;
  hcan1.Init.Mode = CAN_MODE_NORMAL;
  hcan1.Init.SyncJumpWidth = CAN_SJW_1TQ;
  hcan1.Init.TimeSeg1 = CAN_BS1_1TQ;
  hcan1.Init.TimeSeg2 = CAN_BS2_1TQ;
  hcan1.Init.TimeTriggeredMode = DISABLE;
  hcan1.Init.AutoBusOff = DISABLE;
  hcan1.Init.AutoWakeUp = DISABLE;
  hcan1.Init.AutoRetransmission = DISABLE;
  hcan1.Init.ReceiveFifoLocked = DISABLE;
  hcan1.Init.TransmitFifoPriority = DISABLE;
  if (HAL_CAN_Init(&hcan1) != HAL_OK)
  {
    Error_Handler();
  }
  /* USER CODE BEGIN CAN1_Init 2 */
  //Sets Up the First part of the CAN FRAME
  TxHeader.IDE = CAN_ID_STD;
  TxHeader.StdId = 0x420;
  TxHeader.RTR = CAN_RTR_DATA;
  TxHeader.DLC = 8;

  Filter.FilterActivation = CAN_FILTER_ENABLE;
  Filter.FilterBank = 0;
  Filter.FilterFIFOAssignment = CAN_FILTER_FIFO0;
  Filter.FilterIdHigh = 0x0000;
  Filter.FilterIdLow = 0x0000;
  Filter.FilterMaskIdHigh = 0x0000;
  Filter.FilterMaskIdLow = 0x0000;
  Filter.FilterMode = CAN_FILTERMODE_IDMASK;
  Filter.FilterScale = CAN_FILTERSCALE_32BIT;
  Filter.SlaveStartFilterBank = 14;

  if (HAL_CAN_ConfigFilter(&hcan1, &Filter) != HAL_OK){
	  Error_Handler();
  }
  if(HAL_CAN_Start(&hcan1)!= HAL_OK){
	  Error_Handler();
  }
  /* USER CODE END CAN1_Init 2 */

}

static void MX_DAC_Init(void)
{

  DAC_ChannelConfTypeDef sConfig = {0};

  /** DAC Initialization
  */
  hdac.Instance = DAC;
  if (HAL_DAC_Init(&hdac) != HAL_OK)
  {
    Error_Handler();
  }

  /** DAC channel OUT1 config
  */
  sConfig.DAC_Trigger = DAC_TRIGGER_NONE;
  sConfig.DAC_OutputBuffer = DAC_OUTPUTBUFFER_ENABLE;
  if (HAL_DAC_ConfigChannel(&hdac, &sConfig, DAC_CHANNEL_1) != HAL_OK)
  {
    Error_Handler();
  }

  /** DAC channel OUT2 config
  */
  if (HAL_DAC_ConfigChannel(&hdac, &sConfig, DAC_CHANNEL_2) != HAL_OK)
  {
    Error_Handler();
  }

}

static void MX_GPIO_Init(void)
{
  GPIO_InitTypeDef GPIO_InitStruct = {0};

  /* GPIO Ports Clock Enable */
  __HAL_RCC_GPIOE_CLK_ENABLE();
  __HAL_RCC_GPIOC_CLK_ENABLE();
  __HAL_RCC_GPIOH_CLK_ENABLE();
  __HAL_RCC_GPIOA_CLK_ENABLE();
  __HAL_RCC_GPIOB_CLK_ENABLE();
  __HAL_RCC_GPIOD_CLK_ENABLE();

  /*Configure GPIO pin Output Level */
  HAL_GPIO_WritePin(GPIOE, CS_I2C_SPI_Pin|auxDCDCDisable_Pin|hvDCDCEnable_Pin|preChargeRelay_Pin
                          |hvContactor_Pin, GPIO_PIN_RESET);

  /*Configure GPIO pin Output Level */
  HAL_GPIO_WritePin(OTG_FS_PowerSwitchOn_GPIO_Port, OTG_FS_PowerSwitchOn_Pin, GPIO_PIN_SET);

  /*Configure GPIO pin Output Level */
  HAL_GPIO_WritePin(brakeLightEnable_GPIO_Port, brakeLightEnable_Pin, GPIO_PIN_RESET);

  /*Configure GPIO pin Output Level */
  HAL_GPIO_WritePin(GPIOD, LD4_Pin|LD3_Pin|LD6_Pin|spareOutput2_Pin
                          |chargeIndicator_Pin|NA2_Pin, GPIO_PIN_RESET);

  /*Configure GPIO pin Output Level */
  HAL_GPIO_WritePin(faultIndicator_GPIO_Port, faultIndicator_Pin, GPIO_PIN_RESET);

  /*Configure GPIO pin Output Level */
  HAL_GPIO_WritePin(spareOutput3_GPIO_Port, spareOutput3_Pin, GPIO_PIN_SET);

  /*Configure GPIO pins : CS_I2C_SPI_Pin auxDCDCDisable_Pin hvDCDCEnable_Pin preChargeRelay_Pin
                           hvContactor_Pin */
  GPIO_InitStruct.Pin = CS_I2C_SPI_Pin|auxDCDCDisable_Pin|hvDCDCEnable_Pin|preChargeRelay_Pin
                          |hvContactor_Pin;
  GPIO_InitStruct.Mode = GPIO_MODE_OUTPUT_PP;
  GPIO_InitStruct.Pull = GPIO_NOPULL;
  GPIO_InitStruct.Speed = GPIO_SPEED_FREQ_LOW;
  HAL_GPIO_Init(GPIOE, &GPIO_InitStruct);

  /*Configure GPIO pins : OTG_FS_PowerSwitchOn_Pin faultIndicator_Pin */
  GPIO_InitStruct.Pin = OTG_FS_PowerSwitchOn_Pin|faultIndicator_Pin;
  GPIO_InitStruct.Mode = GPIO_MODE_OUTPUT_PP;
  GPIO_InitStruct.Pull = GPIO_NOPULL;
  GPIO_InitStruct.Speed = GPIO_SPEED_FREQ_LOW;
  HAL_GPIO_Init(GPIOC, &GPIO_InitStruct);

  /*Configure GPIO pin : PDM_OUT_Pin */
  GPIO_InitStruct.Pin = PDM_OUT_Pin;
  GPIO_InitStruct.Mode = GPIO_MODE_AF_PP;
  GPIO_InitStruct.Pull = GPIO_NOPULL;
  GPIO_InitStruct.Speed = GPIO_SPEED_FREQ_LOW;
  GPIO_InitStruct.Alternate = GPIO_AF5_SPI2;
  HAL_GPIO_Init(PDM_OUT_GPIO_Port, &GPIO_InitStruct);

  /*Configure GPIO pin : B1_Pin */
  GPIO_InitStruct.Pin = B1_Pin;
  GPIO_InitStruct.Mode = GPIO_MODE_EVT_RISING;
  GPIO_InitStruct.Pull = GPIO_NOPULL;
  HAL_GPIO_Init(B1_GPIO_Port, &GPIO_InitStruct);

  /*Configure GPIO pin : brakeLightEnable_Pin */
  GPIO_InitStruct.Pin = brakeLightEnable_Pin;
  GPIO_InitStruct.Mode = GPIO_MODE_OUTPUT_PP;
  GPIO_InitStruct.Pull = GPIO_NOPULL;
  GPIO_InitStruct.Speed = GPIO_SPEED_FREQ_LOW;
  HAL_GPIO_Init(brakeLightEnable_GPIO_Port, &GPIO_InitStruct);

  /*Configure GPIO pin : SPI1_MISO_Pin */
  GPIO_InitStruct.Pin = SPI1_MISO_Pin;
  GPIO_InitStruct.Mode = GPIO_MODE_AF_PP;
  GPIO_InitStruct.Pull = GPIO_NOPULL;
  GPIO_InitStruct.Speed = GPIO_SPEED_FREQ_LOW;
  GPIO_InitStruct.Alternate = GPIO_AF5_SPI1;
  HAL_GPIO_Init(SPI1_MISO_GPIO_Port, &GPIO_InitStruct);

  /*Configure GPIO pin : BOOT1_Pin */
  GPIO_InitStruct.Pin = BOOT1_Pin;
  GPIO_InitStruct.Mode = GPIO_MODE_INPUT;
  GPIO_InitStruct.Pull = GPIO_NOPULL;
  HAL_GPIO_Init(BOOT1_GPIO_Port, &GPIO_InitStruct);

  /*Configure GPIO pins : keyIGN_Pin keyACC_Pin chargeContactor_Pin disChargeEnable_Pin
                           chargeEnable_Pin */
  GPIO_InitStruct.Pin = keyIGN_Pin|keyACC_Pin|chargeContactor_Pin|disChargeEnable_Pin
                          |chargeEnable_Pin;
  GPIO_InitStruct.Mode = GPIO_MODE_INPUT;
  GPIO_InitStruct.Pull = GPIO_NOPULL;
  HAL_GPIO_Init(GPIOE, &GPIO_InitStruct);

  /*Configure GPIO pin : CLK_IN_Pin */
  GPIO_InitStruct.Pin = CLK_IN_Pin;
  GPIO_InitStruct.Mode = GPIO_MODE_AF_PP;
  GPIO_InitStruct.Pull = GPIO_NOPULL;
  GPIO_InitStruct.Speed = GPIO_SPEED_FREQ_LOW;
  GPIO_InitStruct.Alternate = GPIO_AF5_SPI2;
  HAL_GPIO_Init(CLK_IN_GPIO_Port, &GPIO_InitStruct);

  /*Configure GPIO pins : spareInput2_Pin spareInput1_Pin spareInput3_Pin killSwitch_Pin
                           brakeSwitchInput_Pin OTG_FS_OverCurrent_Pin */
  GPIO_InitStruct.Pin = spareInput2_Pin|spareInput1_Pin|spareInput3_Pin|killSwitch_Pin
                          |brakeSwitchInput_Pin|OTG_FS_OverCurrent_Pin;
  GPIO_InitStruct.Mode = GPIO_MODE_INPUT;
  GPIO_InitStruct.Pull = GPIO_NOPULL;
  HAL_GPIO_Init(GPIOD, &GPIO_InitStruct);

  /*Configure GPIO pins : LD4_Pin LD3_Pin LD6_Pin spareOutput2_Pin
                           chargeIndicator_Pin NA2_Pin */
  GPIO_InitStruct.Pin = LD4_Pin|LD3_Pin|LD6_Pin|spareOutput2_Pin
                          |chargeIndicator_Pin|NA2_Pin;
  GPIO_InitStruct.Mode = GPIO_MODE_OUTPUT_PP;
  GPIO_InitStruct.Pull = GPIO_NOPULL;
  GPIO_InitStruct.Speed = GPIO_SPEED_FREQ_LOW;
  HAL_GPIO_Init(GPIOD, &GPIO_InitStruct);

  /*Configure GPIO pin : I2S3_SCK_Pin */
  GPIO_InitStruct.Pin = I2S3_SCK_Pin;
  GPIO_InitStruct.Mode = GPIO_MODE_AF_PP;
  GPIO_InitStruct.Pull = GPIO_NOPULL;
  GPIO_InitStruct.Speed = GPIO_SPEED_FREQ_LOW;
  GPIO_InitStruct.Alternate = GPIO_AF6_SPI3;
  HAL_GPIO_Init(I2S3_SCK_GPIO_Port, &GPIO_InitStruct);

  /*Configure GPIO pin : spareOutput3_Pin */
  GPIO_InitStruct.Pin = spareOutput3_Pin;
  GPIO_InitStruct.Mode = GPIO_MODE_OUTPUT_PP;
  GPIO_InitStruct.Pull = GPIO_PULLDOWN;
  GPIO_InitStruct.Speed = GPIO_SPEED_FREQ_HIGH;
  HAL_GPIO_Init(spareOutput3_GPIO_Port, &GPIO_InitStruct);

  /*Configure GPIO pin : MEMS_INT2_Pin */
  GPIO_InitStruct.Pin = MEMS_INT2_Pin;
  GPIO_InitStruct.Mode = GPIO_MODE_EVT_RISING;
  GPIO_InitStruct.Pull = GPIO_NOPULL;
  HAL_GPIO_Init(MEMS_INT2_GPIO_Port, &GPIO_InitStruct);

}

/* USER CODE BEGIN 4 */
void HAL_CAN_RxFifoMsgPendingCallback(CAN_HandleTypeDef *hcan){
	HAL_CAN_GetRxMessage(&hcan1, CAN_RX_FIFO0, &RxHeader, RxData);
}
/* USER CODE END 4 */

void Error_Handler(void)
{
  __disable_irq();
  while (1)
  {
  }
}
